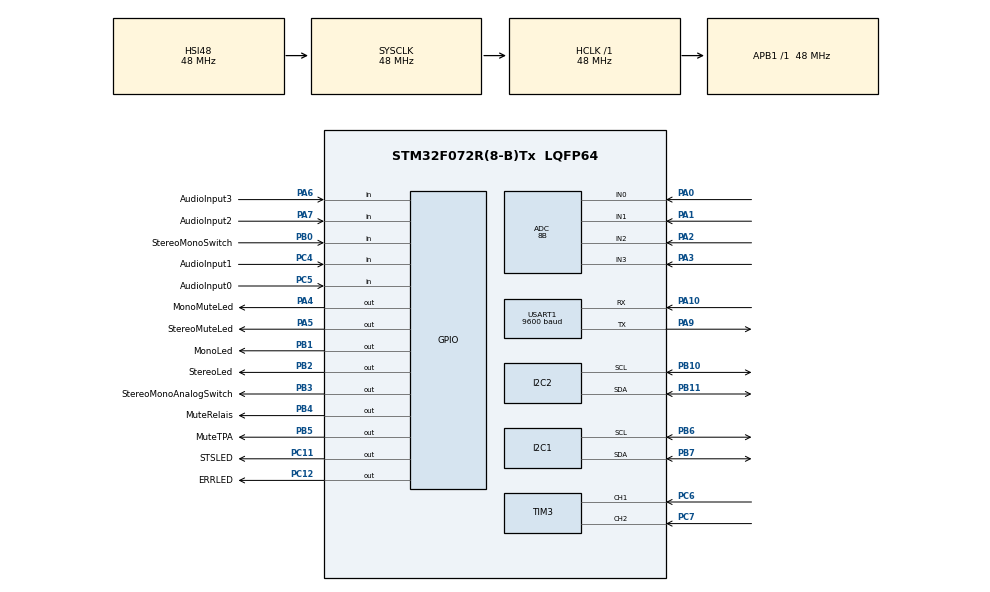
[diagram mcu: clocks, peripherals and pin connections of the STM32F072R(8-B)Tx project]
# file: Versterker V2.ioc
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ADC.Resolution=ADC_RESOLUTION_8B
I2C1.Speed=50
I2C1.Timing=0x00101D7C
I2C2.Speed=100
I2C2.Timing=0x20303E5D
Mcu.Family=STM32F0
Mcu.Name=STM32F072R(8-B)Tx
Mcu.Package=LQFP64
NVIC.TIM3_IRQn=true\:0\:0\:false\:false\:true\:true\:true\:true
NVIC.TIM6_DAC_IRQn=true\:0\:0\:false\:false\:true\:true\:true\:true
PA0.GPIO_Mode=GPIO_MODE_ANALOG
PA0.GPIO_PuPd=GPIO_NOPULL
PA0.Mode=IN0
PA0.Signal=ADC_IN0
PA1.GPIO_Mode=GPIO_MODE_ANALOG
PA1.GPIO_PuPd=GPIO_NOPULL
PA1.Mode=IN1
PA1.Signal=ADC_IN1
PA10.Mode=Asynchronous
PA10.Signal=USART1_RX
PA13.Mode=Serial_Wire
PA13.Signal=SYS_SWDIO
PA14.Mode=Serial_Wire
PA14.Signal=SYS_SWCLK
PA2.GPIO_Mode=GPIO_MODE_ANALOG
PA2.GPIO_PuPd=GPIO_NOPULL
PA2.Mode=IN2
PA2.Signal=ADC_IN2
PA3.GPIO_Mode=GPIO_MODE_ANALOG
PA3.GPIO_PuPd=GPIO_NOPULL
PA3.Mode=IN3
PA3.Signal=ADC_IN3
PA4.GPIO_Label=MonoMuteLed
PA4.Signal=GPIO_Output
PA5.GPIO_Label=StereoMuteLed
PA5.Signal=GPIO_Output
PA6.GPIO_Label=AudioInput3
PA6.GPIO_PuPd=GPIO_PULLDOWN
PA6.Signal=GPIO_Input
PA7.GPIO_Label=AudioInput2
PA7.GPIO_PuPd=GPIO_PULLDOWN
PA7.Signal=GPIO_Input
PA9.Mode=Asynchronous
PA9.Signal=USART1_TX
PB0.GPIO_Label=StereoMonoSwitch
PB0.Signal=GPIO_Input
PB1.GPIO_Label=MonoLed
PB1.Signal=GPIO_Output
PB10.Mode=I2C
PB10.Signal=I2C2_SCL
PB11.Mode=I2C
PB11.Signal=I2C2_SDA
PB2.GPIO_Label=StereoLed
PB2.Signal=GPIO_Output
PB3.GPIO_Label=StereoMonoAnalogSwitch
PB3.Signal=GPIO_Output
PB4.GPIO_Label=MuteRelais
PB4.Signal=GPIO_Output
PB5.GPIO_Label=MuteTPA
PB5.Signal=GPIO_Output
PB6.GPIO_Pu=GPIO_PULLUP
PB6.Mode=I2C
PB6.Signal=I2C1_SCL
PB7.GPIO_Pu=GPIO_PULLUP
PB7.Mode=I2C
PB7.Signal=I2C1_SDA
PC11.GPIO_Label=STSLED
PC11.Signal=GPIO_Output
PC12.GPIO_Label=ERRLED
PC12.Signal=GPIO_Output
PC4.GPIO_Label=AudioInput1
PC4.GPIO_PuPd=GPIO_PULLDOWN
PC4.Signal=GPIO_Input
PC5.GPIO_Label=AudioInput0
PC5.GPIO_PuPd=GPIO_PULLDOWN
PC5.Signal=GPIO_Input
PC6.Signal=S_TIM3_CH1
PC7.Signal=S_TIM3_CH2
ProjectManager.HeapSize=0x200
ProjectManager.StackSize=0x400
ProjectManager.TargetToolchain=STM32CubeIDE
RCC.AHBFreq_Value=48000000
RCC.APB1Freq_Value=48000000
RCC.APB1TimFreq_Value=48000000
RCC.HCLKFreq_Value=48000000
RCC.PLLSourceVirtual=RCC_PLLSOURCE_HSI48
RCC.SYSCLKFreq_VALUE=48000000
RCC.SYSCLKSource=RCC_SYSCLKSOURCE_HSI48
SH.S_TIM3_CH1.0=TIM3_CH1,Encoder_Interface
SH.S_TIM3_CH2.0=TIM3_CH2,Encoder_Interface
TIM3.EncoderMode=TIM_ENCODERMODE_TI12
TIM3.IC1Polarity=TIM_ICPOLARITY_FALLING
TIM3.IC2Polarity=TIM_ICPOLARITY_FALLING
TIM6.Period=7937
TIM6.Prescaler=30000
USART1.BaudRate=9600
USART1.VirtualMode-Asynchronous=VM_ASYNC
VP_ADC_Vbat_Input.Mode=IN-Vbat
VP_TIM6_VS_ClockSourceINT.Mode=Enable_Timer
board=custom

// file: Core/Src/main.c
/* USER CODE BEGIN Header */
/**
 ******************************************************************************
 * @file           : main.c
 * @brief          : Main program body
 ******************************************************************************
 * @attention
 *
 * <h2><center>&copy; Copyright (c) 2023 STMicroelectronics.
 * All rights reserved.</center></h2>
 *
 * This software component is licensed by ST under BSD 3-Clause license,
 * the "License"; You may not use this file except in compliance with the
 * License. You may obtain a copy of the License at:
 *                        opensource.org/licenses/BSD-3-Clause
 *
 ******************************************************************************
 */
/* USER CODE END Header */
#include "main.h"

/* USER CODE BEGIN Includes */
#include <stdio.h>
#include <stdbool.h>
#include <inttypes.h>
#include "string.h"
#include "i2c-lcd.h"
/* USER CODE END Includes */

ADC_HandleTypeDef hadc;

I2C_HandleTypeDef hi2c1;
I2C_HandleTypeDef hi2c2;

TIM_HandleTypeDef htim3;
TIM_HandleTypeDef htim6;

UART_HandleTypeDef huart1;

/* USER CODE BEGIN PV */
uint16_t adcData[ADC_CHANNELS][ADC_DMA_BUFFER_SIZE];

/* USER CODE END PV */

void SystemClock_Config(void);
static void MX_GPIO_Init(void);
static void MX_I2C1_Init(void);
static void MX_USART1_UART_Init(void);
static void MX_ADC_Init(void);
static void MX_TIM3_Init(void);
static void MX_I2C2_Init(void);
static void MX_TIM6_Init(void);

/* USER CODE BEGIN 0 */
//	Global vars
uint8_t voltage = 1;
uint8_t counter = 0;
uint8_t first = 1;
uint8_t shift = 0;
uint8_t startup = 10;
static uint8_t prevVolume;
uint8_t databuffer = 0;

uint16_t volume = 1;

uint32_t input = 255;

bool monoMode = false;

//	TDA data
uint8_t steps[15] = {
		0b00000000,
		0b00000001,
		0b00000010,
		0b00000011,
		0b00000100,

		0b00000101,
		0b00000110,
		0b00000111,
		0b00001110,
		0b00001101,

		0b00001100,
		0b00001011,
		0b00001010,
		0b00001001,
		0b00001000};

//	START UP DISPLAY
//	--------------------
//	   50W VERSTERKER
//
//       William VR
//

char* muxTable[4] = {
		" [X]  [_]  [_]  [_] ",
		" [_]  [X]  [_]  [_] ",
		" [_]  [_]  [X]  [_] ",
		" [_]  [_]  [_]  [X] "
};

char* VersterkerValuesString[6] = {
		"Volume:             ",
		"Gain:               ",
		"Bass:               ",
		"Midrange:           ",
		"Treble:             ",
		"Input:              "
};

//1 VOLUME:					address: 0x80
//2 ??????_______________	address: 0xc0
//3 INPUT:					address: 0x94
//4 [] [] [?] []			address: 0xd4

//	struct amp valias
typedef struct{
	uint8_t inputSelect;
	uint8_t gain;
	uint8_t bass;
	uint8_t midrange;
	uint8_t treble;
	uint8_t attenuateL;
	uint8_t attenuateR;
}versterkerValues;

void HAL_TIM_IC_CaptureCallback(TIM_HandleTypeDef *htim) {
	input = (uint8_t)__HAL_TIM_GET_COUNTER(htim);

	volume = (uint8_t)((255 - input) / 6.375);

	if(volume == 0){
		volume = 1;
	}

	if (volume != prevVolume ) { //&& startup == 0
		// Display volume on LCD
		//lcd_write_string(VersterkerValuesString[0], row1);
		//lcd_write_bars(input, row2);

		// Update volume on TDA chip via I2C
		databuffer = volume;
		HAL_I2C_Mem_Write(&hi2c1, TDA7439DS, VolumeAddress, I2C_MEMADD_SIZE_8BIT, &databuffer, 1, HAL_MAX_DELAY);
	}

	// Update the previous volume
	prevVolume = volume;
}

//	printf function
int _write(int file, char *ptr, int len) {
	for(int i = 0; i < len; i++){
		if(ptr[i]=='\n'){
			HAL_UART_Transmit(&huart1, (uint8_t*)"\r", 1, HAL_MAX_DELAY);
		}
		HAL_UART_Transmit(&huart1, (uint8_t*)&ptr[i], 1, HAL_MAX_DELAY);
	}
	return len;
}
/* USER CODE END 0 */

int main(void)
{

  /* MCU Configuration--------------------------------------------------------*/

  /* Reset of all peripherals, Initializes the Flash interface and the Systick. */
  HAL_Init();

  /* Configure the system clock */
  SystemClock_Config();

  /* Initialize all configured peripherals */
  MX_GPIO_Init();
  MX_I2C1_Init();
  MX_USART1_UART_Init();
  MX_ADC_Init();
  MX_TIM3_Init();
  MX_I2C2_Init();
  MX_TIM6_Init();
  /* USER CODE BEGIN 2 */
	//	leds on
	HAL_GPIO_WritePin(StereoMuteLed_GPIO_Port, StereoMuteLed_Pin, 1);
	HAL_GPIO_WritePin(MonoMuteLed_GPIO_Port, MonoMuteLed_Pin, 1);

	//	read from flash
	//volume = Flash_Read_Data(0x08001000);	//0

	versterkerValues amp;
	versterkerValues ampPrev;

	amp.inputSelect = 0;
	amp.gain = 0;
	amp.bass = 0;
	amp.midrange = 0;
	amp.treble = 0;
	amp.attenuateL = 0;
	amp.attenuateR = 0;

	// 	Initialize ADC channel(s)
	HAL_ADCEx_Calibration_Start(&hadc);

	// init DMA
	ADC_DMA_Init();

	//start up delay
	HAL_Delay(1000);

	//	Init display
	lcd_init();

	lcd_write_string(VersterkerValuesString[5], row3);
	lcd_write_selection(amp.inputSelect, row4);

	//	Encoder
	HAL_TIM_Encoder_Start_IT(&htim3, TIM_CHANNEL_ALL);

	//	Toggle relais MUTE off
	HAL_GPIO_WritePin(MuteTPA_GPIO_Port, MuteTPA_Pin, 0);
	HAL_GPIO_WritePin(MuteRelais_GPIO_Port, MuteRelais_Pin, 1);

	//	leds off
	HAL_GPIO_WritePin(StereoMuteLed_GPIO_Port, StereoMuteLed_Pin, 0);
	HAL_GPIO_WritePin(MonoMuteLed_GPIO_Port, MonoMuteLed_Pin, 0);

	//init TDA
	databuffer = volume;
	HAL_I2C_Mem_Write(&hi2c1, TDA7439DS, VolumeAddress, I2C_MEMADD_SIZE_8BIT,  &databuffer, 1, HAL_MAX_DELAY);
	databuffer = amp.inputSelect;
	HAL_I2C_Mem_Write(&hi2c1, TDA7439DS, GainAddress, I2C_MEMADD_SIZE_8BIT,  &databuffer, 1, HAL_MAX_DELAY);
	databuffer = amp.gain;
	HAL_I2C_Mem_Write(&hi2c1, TDA7439DS, GainAddress, I2C_MEMADD_SIZE_8BIT,  &databuffer, 1, HAL_MAX_DELAY);
	databuffer = amp.bass;
	HAL_I2C_Mem_Write(&hi2c1, TDA7439DS, BassAddress, I2C_MEMADD_SIZE_8BIT,  &databuffer, 1, HAL_MAX_DELAY);
	databuffer = amp.midrange;
	HAL_I2C_Mem_Write(&hi2c1, TDA7439DS, MidRangeAddress, I2C_MEMADD_SIZE_8BIT,  &databuffer, 1, HAL_MAX_DELAY);
	databuffer = amp.treble;
	HAL_I2C_Mem_Write(&hi2c1, TDA7439DS, TrebleAddress, I2C_MEMADD_SIZE_8BIT,  &databuffer, 1, HAL_MAX_DELAY);
	databuffer = amp.attenuateL;
	HAL_I2C_Mem_Write(&hi2c1, TDA7439DS, AttenuateLAddress, I2C_MEMADD_SIZE_8BIT,  &databuffer, 1, HAL_MAX_DELAY);
	databuffer = amp.attenuateR;
	HAL_I2C_Mem_Write(&hi2c1, TDA7439DS, AttenuateRAddress, I2C_MEMADD_SIZE_8BIT,  &databuffer, 1, HAL_MAX_DELAY);

  /* USER CODE END 2 */

  /* Infinite loop */
	while (1)
	{

    /* USER CODE BEGIN 3 */
		// read in values
		/*
		 * Audio Source Select
		 * 4 ADC values
		 * S/M switch
		 */
		//Audio select switch
		if(HAL_GPIO_ReadPin(AudioInput0_GPIO_Port, AudioInput0_Pin)){
			amp.inputSelect = 0;
		}

		if(HAL_GPIO_ReadPin(AudioInput1_GPIO_Port, AudioInput1_Pin)){
			amp.inputSelect = 1;
		}

		if(HAL_GPIO_ReadPin(AudioInput2_GPIO_Port, AudioInput2_Pin)){
			amp.inputSelect = 2;
		}

		if(HAL_GPIO_ReadPin(AudioInput3_GPIO_Port, AudioInput3_Pin)) {
			amp.inputSelect = 3;
		}

		//Stereo Mono Switch
		if(HAL_GPIO_ReadPin(StereoMonoSwitch_GPIO_Port, StereoMonoSwitch_Pin)){
			monoMode = false;
			HAL_GPIO_WritePin(StereoMonoAnalogSwitch_GPIO_Port, StereoMonoAnalogSwitch_Pin, 0);
		}
		else{
			monoMode = true;
			HAL_GPIO_WritePin(StereoMonoAnalogSwitch_GPIO_Port, StereoMonoAnalogSwitch_Pin, 1);
		}

		// ADC - Values
		ADC_Start_Conversion();

		amp.gain = adcData[0][0];
		amp.bass = adcData[0][1];
		amp.midrange = adcData[0][2];
		amp.treble = adcData[0][3];

		//printf("%d %d %d %d\n", amp.gain, amp.bass, amp.midrange, amp.treble);

		//update Leds
		if(monoMode){
			HAL_GPIO_WritePin(MonoLed_GPIO_Port, MonoLed_Pin, 1);
			HAL_GPIO_WritePin(StereoLed_GPIO_Port, StereoLed_Pin, 0);
		}
		else{
			HAL_GPIO_WritePin(MonoLed_GPIO_Port, MonoLed_Pin, 0);
			HAL_GPIO_WritePin(StereoLed_GPIO_Port, StereoLed_Pin, 1);
		}

		// update TDA IC & update display
		/*
		 * I2C
		 * 8 registers
		 */

		// Display volume on LCD
		lcd_write_string(VersterkerValuesString[0], row1);
		lcd_write_bars(input, row2);

		if(amp.inputSelect != ampPrev.inputSelect){
			//Dislay
			lcd_write_string(VersterkerValuesString[5], row3);
			lcd_write_selection(amp.inputSelect, row4);

			//printf("input = %d\n", amp.inputSelect);

			//TDA
			databuffer = amp.inputSelect;
			HAL_I2C_Mem_Write(&hi2c1, TDA7439DS, InputSelectAddress, I2C_MEMADD_SIZE_8BIT, &databuffer, 1, HAL_MAX_DELAY);

			//delay
			HAL_Delay(10);
		}

		if(amp.gain != ampPrev.gain){
			databuffer = (amp.gain >> 4);
			printf("%d \n", amp.gain);
			HAL_I2C_Mem_Write(&hi2c1, TDA7439DS, GainAddress, I2C_MEMADD_SIZE_8BIT,  &databuffer, 1, HAL_MAX_DELAY);
		}

		updateTDA(amp.bass, ampPrev.bass, VersterkerValuesString[2], 1, BassAddress);
		updateTDA(amp.midrange, ampPrev.midrange, VersterkerValuesString[3], 1, MidRangeAddress);
		updateTDA(amp.treble, ampPrev.treble, VersterkerValuesString[4], 1, TrebleAddress);

		if(amp.attenuateL != ampPrev.attenuateL){
			databuffer = amp.attenuateL;
			HAL_I2C_Mem_Write(&hi2c1, TDA7439DS, AttenuateLAddress, I2C_MEMADD_SIZE_8BIT,  &databuffer, 1, HAL_MAX_DELAY);
		}

		if(amp.attenuateR != ampPrev.attenuateR){
			databuffer = amp.attenuateR;
			HAL_I2C_Mem_Write(&hi2c1, TDA7439DS, AttenuateRAddress, I2C_MEMADD_SIZE_8BIT,  &databuffer, 1, HAL_MAX_DELAY);
		}

		//	update prev values
		ampPrev.inputSelect = amp.inputSelect;
		ampPrev.gain 		= amp.gain;
		ampPrev.bass 		= amp.bass;
		ampPrev.midrange 	= amp.midrange;
		ampPrev.treble 		= amp.treble;
		ampPrev.attenuateL 	= amp.attenuateL;
		ampPrev.attenuateR 	= amp.attenuateR;

		//	Toggle Status pin
		HAL_GPIO_TogglePin(STSLED_GPIO_Port, STSLED_Pin);
	}
  /* USER CODE END 3 */
}

void SystemClock_Config(void)
{
  RCC_OscInitTypeDef RCC_OscInitStruct = {0};
  RCC_ClkInitTypeDef RCC_ClkInitStruct = {0};
  RCC_PeriphCLKInitTypeDef PeriphClkInit = {0};

  /** Initializes the RCC Oscillators according to the specified parameters
  * in the RCC_OscInitTypeDef structure.
  */
  RCC_OscInitStruct.OscillatorType = RCC_OSCILLATORTYPE_HSI|RCC_OSCILLATORTYPE_HSI14
                              |RCC_OSCILLATORTYPE_HSI48;
  RCC_OscInitStruct.HSIState = RCC_HSI_ON;
  RCC_OscInitStruct.HSI48State = RCC_HSI48_ON;
  RCC_OscInitStruct.HSI14State = RCC_HSI14_ON;
  RCC_OscInitStruct.HSICalibrationValue = RCC_HSICALIBRATION_DEFAULT;
  RCC_OscInitStruct.HSI14CalibrationValue = 16;
  RCC_OscInitStruct.PLL.PLLState = RCC_PLL_NONE;
  if (HAL_RCC_OscConfig(&RCC_OscInitStruct) != HAL_OK)
  {
    Error_Handler();
  }

  /** Initializes the CPU, AHB and APB buses clocks
  */
  RCC_ClkInitStruct.ClockType = RCC_CLOCKTYPE_HCLK|RCC_CLOCKTYPE_SYSCLK
                              |RCC_CLOCKTYPE_PCLK1;
  RCC_ClkInitStruct.SYSCLKSource = RCC_SYSCLKSOURCE_HSI48;
  RCC_ClkInitStruct.AHBCLKDivider = RCC_SYSCLK_DIV1;
  RCC_ClkInitStruct.APB1CLKDivider = RCC_HCLK_DIV1;

  if (HAL_RCC_ClockConfig(&RCC_ClkInitStruct, FLASH_LATENCY_1) != HAL_OK)
  {
    Error_Handler();
  }
  PeriphClkInit.PeriphClockSelection = RCC_PERIPHCLK_USART1|RCC_PERIPHCLK_I2C1;
  PeriphClkInit.Usart1ClockSelection = RCC_USART1CLKSOURCE_PCLK1;
  PeriphClkInit.I2c1ClockSelection = RCC_I2C1CLKSOURCE_HSI;
  if (HAL_RCCEx_PeriphCLKConfig(&PeriphClkInit) != HAL_OK)
  {
    Error_Handler();
  }
}

static void MX_ADC_Init(void)
{

  ADC_ChannelConfTypeDef sConfig = {0};

  /** Configure the global features of the ADC (Clock, Resolution, Data Alignment and number of conversion)
  */
  hadc.Instance = ADC1;
  hadc.Init.ClockPrescaler = ADC_CLOCK_ASYNC_DIV1;
  hadc.Init.Resolution = ADC_RESOLUTION_8B;
  hadc.Init.DataAlign = ADC_DATAALIGN_RIGHT;
  hadc.Init.ScanConvMode = ADC_SCAN_DIRECTION_FORWARD;
  hadc.Init.EOCSelection = ADC_EOC_SINGLE_CONV;
  hadc.Init.LowPowerAutoWait = DISABLE;
  hadc.Init.LowPowerAutoPowerOff = DISABLE;
  hadc.Init.ContinuousConvMode = DISABLE;
  hadc.Init.DiscontinuousConvMode = DISABLE;
  hadc.Init.ExternalTrigConv = ADC_SOFTWARE_START;
  hadc.Init.ExternalTrigConvEdge = ADC_EXTERNALTRIGCONVEDGE_NONE;
  hadc.Init.DMAContinuousRequests = DISABLE;
  hadc.Init.Overrun = ADC_OVR_DATA_PRESERVED;
  if (HAL_ADC_Init(&hadc) != HAL_OK)
  {
    Error_Handler();
  }

  /** Configure for the selected ADC regular channel to be converted.
  */
  sConfig.Channel = ADC_CHANNEL_0;
  sConfig.Rank = ADC_RANK_CHANNEL_NUMBER;
  sConfig.SamplingTime = ADC_SAMPLETIME_1CYCLE_5;
  if (HAL_ADC_ConfigChannel(&hadc, &sConfig) != HAL_OK)
  {
    Error_Handler();
  }

  /** Configure for the selected ADC regular channel to be converted.
  */
  sConfig.Channel = ADC_CHANNEL_1;
  if (HAL_ADC_ConfigChannel(&hadc, &sConfig) != HAL_OK)
  {
    Error_Handler();
  }

  /** Configure for the selected ADC regular channel to be converted.
  */
  sConfig.Channel = ADC_CHANNEL_2;
  if (HAL_ADC_ConfigChannel(&hadc, &sConfig) != HAL_OK)
  {
    Error_Handler();
  }

  /** Configure for the selected ADC regular channel to be converted.
  */
  sConfig.Channel = ADC_CHANNEL_3;
  if (HAL_ADC_ConfigChannel(&hadc, &sConfig) != HAL_OK)
  {
    Error_Handler();
  }

  /** Configure for the selected ADC regular channel to be converted.
  */
  sConfig.Channel = ADC_CHANNEL_VBAT;
  if (HAL_ADC_ConfigChannel(&hadc, &sConfig) != HAL_OK)
  {
    Error_Handler();
  }

}

static void MX_I2C1_Init(void)
{

  hi2c1.Instance = I2C1;
  hi2c1.Init.Timing = 0x00101D7C;
  hi2c1.Init.OwnAddress1 = 0;
  hi2c1.Init.AddressingMode = I2C_ADDRESSINGMODE_7BIT;
  hi2c1.Init.DualAddressMode = I2C_DUALADDRESS_DISABLE;
  hi2c1.Init.OwnAddress2 = 0;
  hi2c1.Init.OwnAddress2Masks = I2C_OA2_NOMASK;
  hi2c1.Init.GeneralCallMode = I2C_GENERALCALL_DISABLE;
  hi2c1.Init.NoStretchMode = I2C_NOSTRETCH_DISABLE;
  if (HAL_I2C_Init(&hi2c1) != HAL_OK)
  {
    Error_Handler();
  }

  /** Configure Analogue filter
  */
  if (HAL_I2CEx_ConfigAnalogFilter(&hi2c1, I2C_ANALOGFILTER_ENABLE) != HAL_OK)
  {
    Error_Handler();
  }

  /** Configure Digital filter
  */
  if (HAL_I2CEx_ConfigDigitalFilter(&hi2c1, 0) != HAL_OK)
  {
    Error_Handler();
  }

}

static void MX_I2C2_Init(void)
{

  hi2c2.Instance = I2C2;
  hi2c2.Init.Timing = 0x20303E5D;
  hi2c2.Init.OwnAddress1 = 0;
  hi2c2.Init.AddressingMode = I2C_ADDRESSINGMODE_7BIT;
  hi2c2.Init.DualAddressMode = I2C_DUALADDRESS_DISABLE;
  hi2c2.Init.OwnAddress2 = 0;
  hi2c2.Init.OwnAddress2Masks = I2C_OA2_NOMASK;
  hi2c2.Init.GeneralCallMode = I2C_GENERALCALL_DISABLE;
  hi2c2.Init.NoStretchMode = I2C_NOSTRETCH_DISABLE;
  if (HAL_I2C_Init(&hi2c2) != HAL_OK)
  {
    Error_Handler();
  }

  /** Configure Analogue filter
  */
  if (HAL_I2CEx_ConfigAnalogFilter(&hi2c2, I2C_ANALOGFILTER_ENABLE) != HAL_OK)
  {
    Error_Handler();
  }

  /** Configure Digital filter
  */
  if (HAL_I2CEx_ConfigDigitalFilter(&hi2c2, 0) != HAL_OK)
  {
    Error_Handler();
  }

}

static void MX_TIM3_Init(void)
{

  TIM_Encoder_InitTypeDef sConfig = {0};
  TIM_MasterConfigTypeDef sMasterConfig = {0};

  htim3.Instance = TIM3;
  htim3.Init.Prescaler = 0;
  htim3.Init.CounterMode = TIM_COUNTERMODE_UP;
  htim3.Init.Period = 65535;
  htim3.Init.ClockDivision = TIM_CLOCKDIVISION_DIV1;
  htim3.Init.AutoReloadPreload = TIM_AUTORELOAD_PRELOAD_DISABLE;
  sConfig.EncoderMode = TIM_ENCODERMODE_TI12;
  sConfig.IC1Polarity = TIM_ICPOLARITY_FALLING;
  sConfig.IC1Selection = TIM_ICSELECTION_DIRECTTI;
  sConfig.IC1Prescaler = TIM_ICPSC_DIV1;
  sConfig.IC1Filter = 0;
  sConfig.IC2Polarity = TIM_ICPOLARITY_FALLING;
  sConfig.IC2Selection = TIM_ICSELECTION_DIRECTTI;
  sConfig.IC2Prescaler = TIM_ICPSC_DIV1;
  sConfig.IC2Filter = 0;
  if (HAL_TIM_Encoder_Init(&htim3, &sConfig) != HAL_OK)
  {
    Error_Handler();
  }
  sMasterConfig.MasterOutputTrigger = TIM_TRGO_RESET;
  sMasterConfig.MasterSlaveMode = TIM_MASTERSLAVEMODE_DISABLE;
  if (HAL_TIMEx_MasterConfigSynchronization(&htim3, &sMasterConfig) != HAL_OK)
  {
    Error_Handler();
  }

}

static void MX_TIM6_Init(void)
{

  TIM_MasterConfigTypeDef sMasterConfig = {0};

  htim6.Instance = TIM6;
  htim6.Init.Prescaler = 30000;
  htim6.Init.CounterMode = TIM_COUNTERMODE_UP;
  htim6.Init.Period = 7937;
  htim6.Init.AutoReloadPreload = TIM_AUTORELOAD_PRELOAD_DISABLE;
  if (HAL_TIM_Base_Init(&htim6) != HAL_OK)
  {
    Error_Handler();
  }
  sMasterConfig.MasterOutputTrigger = TIM_TRGO_RESET;
  sMasterConfig.MasterSlaveMode = TIM_MASTERSLAVEMODE_DISABLE;
  if (HAL_TIMEx_MasterConfigSynchronization(&htim6, &sMasterConfig) != HAL_OK)
  {
    Error_Handler();
  }

}

static void MX_USART1_UART_Init(void)
{

  huart1.Instance = USART1;
  huart1.Init.BaudRate = 9600;
  huart1.Init.WordLength = UART_WORDLENGTH_8B;
  huart1.Init.StopBits = UART_STOPBITS_1;
  huart1.Init.Parity = UART_PARITY_NONE;
  huart1.Init.Mode = UART_MODE_TX_RX;
  huart1.Init.HwFlowCtl = UART_HWCONTROL_NONE;
  huart1.Init.OverSampling = UART_OVERSAMPLING_16;
  huart1.Init.OneBitSampling = UART_ONE_BIT_SAMPLE_DISABLE;
  huart1.AdvancedInit.AdvFeatureInit = UART_ADVFEATURE_NO_INIT;
  if (HAL_UART_Init(&huart1) != HAL_OK)
  {
    Error_Handler();
  }

}

static void MX_GPIO_Init(void)
{
  GPIO_InitTypeDef GPIO_InitStruct = {0};

  /* GPIO Ports Clock Enable */
  __HAL_RCC_GPIOA_CLK_ENABLE();
  __HAL_RCC_GPIOC_CLK_ENABLE();
  __HAL_RCC_GPIOB_CLK_ENABLE();

  /*Configure GPIO pin Output Level */
  HAL_GPIO_WritePin(GPIOA, MonoMuteLed_Pin|StereoMuteLed_Pin, GPIO_PIN_RESET);

  /*Configure GPIO pin Output Level */
  HAL_GPIO_WritePin(GPIOB, MonoLed_Pin|StereoLed_Pin|StereoMonoAnalogSwitch_Pin|MuteRelais_Pin
                          |MuteTPA_Pin, GPIO_PIN_RESET);

  /*Configure GPIO pin Output Level */
  HAL_GPIO_WritePin(GPIOC, STSLED_Pin|ERRLED_Pin, GPIO_PIN_RESET);

  /*Configure GPIO pins : MonoMuteLed_Pin StereoMuteLed_Pin */
  GPIO_InitStruct.Pin = MonoMuteLed_Pin|StereoMuteLed_Pin;
  GPIO_InitStruct.Mode = GPIO_MODE_OUTPUT_PP;
  GPIO_InitStruct.Pull = GPIO_NOPULL;
  GPIO_InitStruct.Speed = GPIO_SPEED_FREQ_LOW;
  HAL_GPIO_Init(GPIOA, &GPIO_InitStruct);

  /*Configure GPIO pins : AudioInput3_Pin AudioInput2_Pin */
  GPIO_InitStruct.Pin = AudioInput3_Pin|AudioInput2_Pin;
  GPIO_InitStruct.Mode = GPIO_MODE_INPUT;
  GPIO_InitStruct.Pull = GPIO_PULLDOWN;
  HAL_GPIO_Init(GPIOA, &GPIO_InitStruct);

  /*Configure GPIO pins : AudioInput1_Pin AudioInput0_Pin */
  GPIO_InitStruct.Pin = AudioInput1_Pin|AudioInput0_Pin;
  GPIO_InitStruct.Mode = GPIO_MODE_INPUT;
  GPIO_InitStruct.Pull = GPIO_PULLDOWN;
  HAL_GPIO_Init(GPIOC, &GPIO_InitStruct);

  /*Configure GPIO pin : StereoMonoSwitch_Pin */
  GPIO_InitStruct.Pin = StereoMonoSwitch_Pin;
  GPIO_InitStruct.Mode = GPIO_MODE_INPUT;
  GPIO_InitStruct.Pull = GPIO_NOPULL;
  HAL_GPIO_Init(StereoMonoSwitch_GPIO_Port, &GPIO_InitStruct);

  /*Configure GPIO pins : MonoLed_Pin StereoLed_Pin StereoMonoAnalogSwitch_Pin MuteRelais_Pin
                           MuteTPA_Pin */
  GPIO_InitStruct.Pin = MonoLed_Pin|StereoLed_Pin|StereoMonoAnalogSwitch_Pin|MuteRelais_Pin
                          |MuteTPA_Pin;
  GPIO_InitStruct.Mode = GPIO_MODE_OUTPUT_PP;
  GPIO_InitStruct.Pull = GPIO_NOPULL;
  GPIO_InitStruct.Speed = GPIO_SPEED_FREQ_LOW;
  HAL_GPIO_Init(GPIOB, &GPIO_InitStruct);

  /*Configure GPIO pins : STSLED_Pin ERRLED_Pin */
  GPIO_InitStruct.Pin = STSLED_Pin|ERRLED_Pin;
  GPIO_InitStruct.Mode = GPIO_MODE_OUTPUT_PP;
  GPIO_InitStruct.Pull = GPIO_NOPULL;
  GPIO_InitStruct.Speed = GPIO_SPEED_FREQ_LOW;
  HAL_GPIO_Init(GPIOC, &GPIO_InitStruct);

}

/* USER CODE BEGIN 4 */
//TDA

void updateTDA(uint8_t input, uint8_t prevInput, char* text, uint8_t index, uint8_t adres){
	//printf("%s\t%d\t%d\tdiff= %d\n", text, input, prevInput, diff(input, prevInput));
	if(input != prevInput && diff(input, prevInput) > 1){
		//Dislay
		/*
		if(index == 1){
			lcd_write_string(text, row1);
			lcd_write_bars(input, row2);
		}
		else{
			lcd_write_string(text, row3);
			lcd_write_bars(input, row4);
		}*/

		//Reset timer
		//HAL_TIM_Base_Start_IT(&htim6);

		//printf
		//printf("%s new = %d  prev = %d\n", text, input, prevInput);

		//TDA
		databuffer = input;
		shift = ((databuffer >> 4) & 0b00001111);
		databuffer = steps[shift] ;
		HAL_I2C_Mem_Write(&hi2c1, TDA7439DS, adres, I2C_MEMADD_SIZE_8BIT,  &databuffer, 1, HAL_MAX_DELAY);
		HAL_Delay(10);
	}

}

//	FLASH
void Flash_Write_Data(uint32_t address, uint16_t volume)
{
	// Unlock the Flash
	HAL_FLASH_Unlock();
	// Program the Flash
	if (HAL_FLASH_Program(FLASH_TYPEPROGRAM_HALFWORD, address, volume) != HAL_OK) {
		printf("Error writing to Flash memory. Error code: %lX\n", (unsigned long)HAL_FLASH_GetError());
	}

	// Lock the Flash
	HAL_FLASH_Lock();
}

uint16_t Flash_Read_Data(uint32_t Address){

	__IO uint16_t read_data = *(__IO uint32_t *)Address;
	return (uint16_t)read_data;
}

//	DISPLAY
void lcd_write_string(char* intput, uint8_t row){
	lcd_send_cmd(row);
	lcd_send_string(intput);
}

void lcd_write_bars(uint8_t input, uint8_t row){
	uint8_t bars;
	if(input != 0){
		bars = input / 12; // 0 - 255 => 0 - 20 => / 12.75 ~ 12
		if(bars > 20)
			bars = 20;
	}
	else{
		bars = 0;
	}

	uint8_t blanks = 20 - bars;
	char barStr[20];

	//assemble string
	strcpy(barStr, "");
	for(uint8_t i = 0; i < bars; i++){
		strcat(barStr, "Y");
	}
	for(uint8_t i = 0; i < blanks; i++){
		strcat(barStr, "_");
	}

	//printf("%d %d\n", bars, blanks);

	lcd_send_cmd(row);
	lcd_send_string(barStr);
}

void lcd_write_selection(uint8_t input, uint8_t row){
	char* muxStr;
	muxStr = muxTable[input];

	lcd_send_cmd(row);
	lcd_send_string(muxStr);
}

//	TIMER
void HAL_TIM_PeriodElapsedCallback(TIM_HandleTypeDef *htim)
{
	if (htim->Instance == TIM6) {
		lcd_write_string(VersterkerValuesString[0], row1);
		lcd_write_bars(input, row2);
		HAL_TIM_Base_Stop_IT(&htim6);
	}
}
//	DIFF
uint8_t diff(uint8_t a, uint8_t b){
	uint8_t diff;
	if( a>b )
		diff=a-b;
	else
		diff=b-a;
	return diff;
}

//	ADC
void ADC_DMA_Init() {
	// Enable clock for ADC and GPIO
	RCC->APB2ENR |= RCC_APB2ENR_ADCEN;
	RCC->AHBENR |= RCC_AHBENR_GPIOAEN;

	// Configure ADC pins as analog inputs (IN0 to IN3)
	// tmp GPIOA->MODER |= GPIO_MODER_MODER0 | GPIO_MODER_MODER1 | GPIO_MODER_MODER2 | GPIO_MODER_MODER3;
	GPIOA->MODER |= GPIO_MODER_MODER0 | GPIO_MODER_MODER1 | GPIO_MODER_MODER2 | GPIO_MODER_MODER3 | GPIO_MODER_MODER4  ;

	// Initialize the ADC
	ADC1->CR |= ADC_CR_ADEN; // Enable the ADC
	while (!(ADC1->ISR & ADC_ISR_ADRDY)); // Wait for ADC to be ready

	// Configure ADC settings
	ADC1->CFGR1 |= ADC_CFGR1_CONT; // Continuous conversion mode
	//ADC1->CFGR1 |= ADC_CFGR1_RES_0; // 12-bit resolution
	ADC1->CFGR1 |= ADC_CFGR1_DMAEN; // Enable DMA mode

	// Configure the sequence and channels (IN0 to IN3)
	// tmp ADC1->CHSELR |= ADC_CHSELR_CHSEL0 | ADC_CHSELR_CHSEL1 | ADC_CHSELR_CHSEL2 | ADC_CHSELR_CHSEL3;
	ADC1->CHSELR |= ADC_CHSELR_CHSEL0 | ADC_CHSELR_CHSEL1 | ADC_CHSELR_CHSEL2 | ADC_CHSELR_CHSEL3 | ADC_CHSELR_CHSEL4  ;

	// Initialize the DMA
	RCC->AHBENR |= RCC_AHBENR_DMA1EN; // Enable DMA1 clock
	DMA1_Channel1->CCR = 0;
	DMA1_Channel1->CCR |= DMA_CCR_MINC; // Memory increment mode
	DMA1_Channel1->CCR |= DMA_CCR_MSIZE_0; // 16-bit memory size
	DMA1_Channel1->CCR |= DMA_CCR_PSIZE_0; // 16-bit peripheral size
	DMA1_Channel1->CCR |= DMA_CCR_CIRC; // Circular mode
	DMA1_Channel1->CNDTR = ADC_DMA_BUFFER_SIZE; // Number of data items to transfer
	DMA1_Channel1->CPAR = (uint32_t)(&ADC1->DR); // Source: ADC data register
	DMA1_Channel1->CMAR = (uint32_t)(adcData[0]); // Destination: Memory buffer for channel 0

	// Enable DMA channel
	// tmp DMA1_Channel1->CCR |= DMA_CCR_EN;
	DMA1_Channel1->CPAR = (uint32_t)(&ADC1->DR); // Source: ADC data register
	DMA1_Channel1->CMAR = (uint32_t)(adcData[0]); // Destination: Memory buffer for channel 0
	DMA1_Channel1->CCR |= DMA_CCR_EN; // Enable DMA channel

}

void ADC_Start_Conversion() {
	// Start the ADC conversion
	ADC1->CR |= ADC_CR_ADSTART;
}

/* USER CODE END 4 */

void Error_Handler(void)
{
  /* USER CODE BEGIN Error_Handler_Debug */
	/* User can add his own implementation to report the HAL error return state */
	__disable_irq();
	while (1)
	{
		HAL_GPIO_TogglePin(ERRLED_GPIO_Port, ERRLED_Pin);
		HAL_Delay(500);
	}
  /* USER CODE END Error_Handler_Debug */
}
